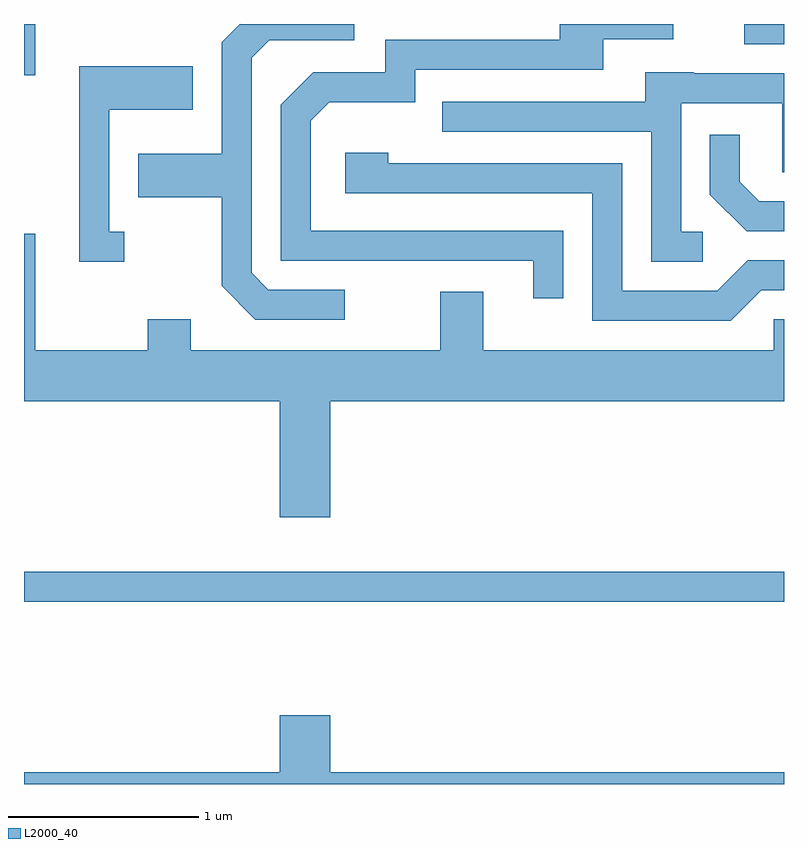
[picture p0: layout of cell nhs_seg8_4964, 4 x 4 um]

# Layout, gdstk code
import gdstk
lib = gdstk.Library(unit=1e-6, precision=1e-09)
def R(c, l, rs):  # rectangles x0, y0, x1, y1
    for r in rs: c.add(gdstk.rectangle(r[:2], r[2:], *l))
def P(c, l, *ps):  # polygons
    for p in ps: c.add(gdstk.Polygon(p, *l))
L2000_40 = (2000, 40)

nhs_seg8_4964 = lib.new_cell('nhs_seg8_4964')
R(nhs_seg8_4964, L2000_40, [(333.611,1895.301,337.611,1895.459), (333.611,1898.071,333.669,1898.342), (337.401,1898.236,337.611,1898.342)])
P(nhs_seg8_4964, L2000_40, [(336.449,1897.254),(335.119,1897.254),(335.119,1897.834),(335.217,1897.931),(335.669,1897.931),(335.669,1898.101),(336.659,1898.101),(336.659,1898.261),(337.028,1898.261),(337.028,1898.342),(336.431,1898.342),(336.431,1898.259),(335.511,1898.259),(335.511,1898.089),(335.134,1898.089),(334.961,1897.917),(334.961,1897.096),(336.291,1897.096),(336.291,1896.898),(336.449,1896.898)],
  [(335.298,1896.944),(334.897,1896.944),(334.809,1897.032),(334.809,1898.164),(334.902,1898.256),(335.348,1898.256),(335.348,1898.342),(334.747,1898.342),(334.651,1898.247),(334.651,1897.659),(334.211,1897.659),(334.211,1897.431),(334.651,1897.431),(334.651,1896.964),(334.829,1896.786),(335.298,1896.786)],
  [(334.138,1897.249),(334.059,1897.249),(334.059,1897.891),(334.499,1897.891),(334.499,1898.119),(333.901,1898.119),(333.901,1897.091),(334.138,1897.091)],
  [(337.183,1897.249),(337.069,1897.249),(337.069,1897.926),(337.601,1897.926),(337.601,1897.561),(337.611,1897.561),(337.611,1898.084),(337.135,1898.084),(337.135,1898.089),(336.881,1898.089),(336.881,1897.934),(335.813,1897.934),(335.813,1897.776),(336.911,1897.776),(336.911,1897.091),(337.183,1897.091)],
  [(337.611,1897.409),(337.482,1897.409),(337.379,1897.512),(337.379,1897.758),(337.221,1897.758),(337.221,1897.444),(337.414,1897.251),(337.611,1897.251)],
  [(337.492,1896.941),(337.611,1896.941),(337.611,1897.099),(337.419,1897.099),(337.259,1896.939),(336.759,1896.939),(336.759,1897.609),(335.529,1897.609),(335.529,1897.664),(335.301,1897.664),(335.301,1897.451),(336.601,1897.451),(336.601,1896.781),(337.332,1896.781)],
  [(335.224,1896.356),(337.611,1896.356),(337.611,1896.789),(337.556,1896.789),(337.556,1896.624),(336.029,1896.624),(336.029,1896.934),(335.801,1896.934),(335.801,1896.624),(334.489,1896.624),(334.489,1896.789),(334.261,1896.789),(334.261,1896.624),(333.669,1896.624),(333.669,1897.239),(333.611,1897.239),(333.611,1896.356),(334.956,1896.356),(334.956,1895.746),(335.224,1895.746)],
  [(337.611,1894.404),(335.224,1894.404),(335.224,1894.704),(334.956,1894.704),(334.956,1894.404),(333.611,1894.404),(333.611,1894.342),(337.611,1894.342)])

lib.write_gds('nhs_seg8_4964.gds')
